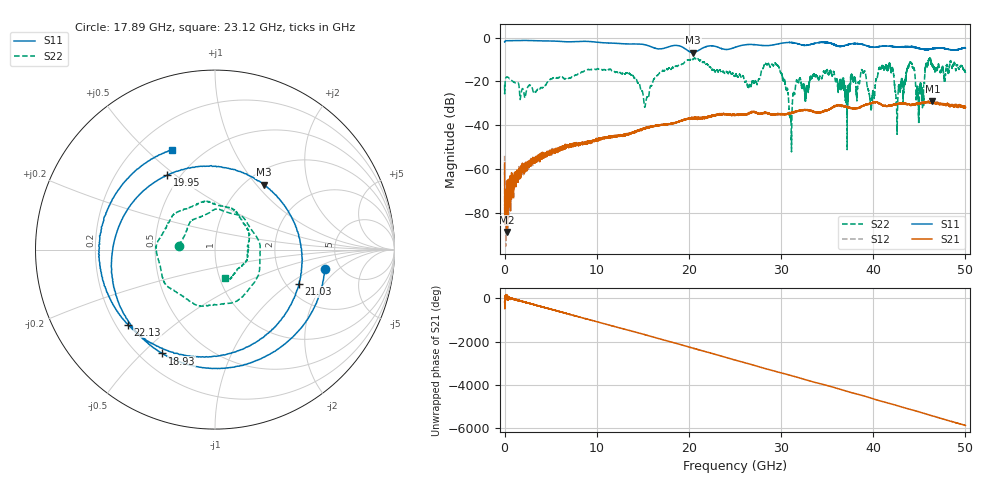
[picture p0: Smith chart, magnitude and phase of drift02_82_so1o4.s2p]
!Created with skrf (http://scikit-rf.org).
# Hz S RI R 50.0
!freq ReS11 ImS11 ReS21 ImS21 ReS12 ImS12 ReS22 ImS22
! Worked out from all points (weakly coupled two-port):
!   10001 points, 300 kHz to 50 GHz, reference 50 ohm
!   highest |S21| = -28.90 dB at 46.43 GHz (marker M1); lowest = -88.7 dB at 225.3 MHz (marker M2)
!   lowest |S11| = -6.9 dB at 20.45 GHz (marker M3), VSWR 2.64, Z = 60.1 + j54.5 ohm
!   |S11| at or under -10 dB: nowhere
!   |S22| runs from -52.2 to -9.3 dB; largest |S21 - S12| = 0.0034
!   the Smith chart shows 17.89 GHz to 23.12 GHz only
!   S11 on the Smith chart (normalised r, x): 17.89 GHz: 3.77, -1.34; 18.93 GHz: 0.29, -0.58; 19.95 GHz: 0.43, +0.47; 21.03 GHz: 2.33, -1.19; 22.13 GHz: 0.25, -0.35; 23.12 GHz: 0.34, +0.60
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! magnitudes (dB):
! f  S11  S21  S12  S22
! 300 kHz  -2.0  -57.2  -54.0  -21.6
! 225.3 MHz  -1.4  -88.7  -69.0  -18.1
! 8.335 GHz  -1.7  -48.1  -48.5  -15.7
! 15.33 GHz  -3.4  -41.5  -41.2  -29.4
! 16.67 GHz  -5.2  -40.0  -40.1  -17.0
! 17.89 GHz  -4.1  -39.4  -39.5  -13.9
! 18.93 GHz  -3.8  -38.4  -38.2  -12.5
! 19.95 GHz  -6.1  -36.9  -37.0  -10.1
! 20.45 GHz  -6.9  -36.6  -36.9  -10.0
! 21.03 GHz  -5.9  -36.9  -36.9  -9.9
! 22.13 GHz  -3.9  -36.3  -36.0  -13.0
! 23.12 GHz  -4.3  -35.2  -35.1  -15.4
! 25 GHz  -4.5  -35.1  -35.5  -17.5
! 29.51 GHz  -3.1  -34.9  -35.1  -12.5
! 31.03 GHz  -2.2  -34.4  -34.7  -37.1
! 33.34 GHz  -3.1  -33.6  -33.5  -18.0
! 38.92 GHz  -3.2  -31.2  -31.0  -16.3
! 39.88 GHz  -4.4  -30.0  -29.8  -28.1
! 41.67 GHz  -3.9  -30.9  -31.1  -13.4
! 42.58 GHz  -4.3  -30.4  -30.3  -41.7
! 46.43 GHz  -5.0  -28.9  -29.2  -12.3
! 50 GHz  -4.7  -31.9  -31.6  -16.2
